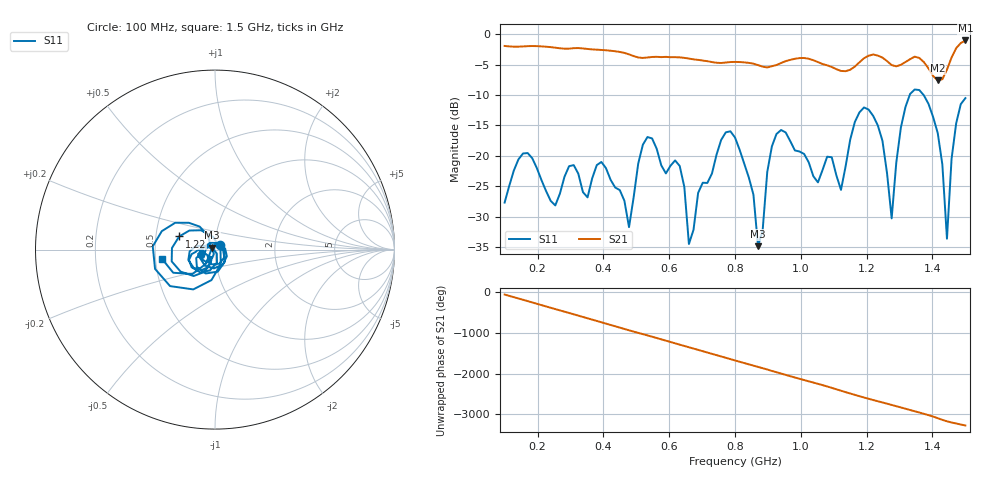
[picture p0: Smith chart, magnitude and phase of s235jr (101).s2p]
! NanoVNA-App
! Date: 2025-09-26 09:45:34
! Start: 100MHz Stop: 1,5GHz Points: 101
! S-Parameter data: F S11 S21 S12 S22
# Hz S RI R 50
!  Frequency  S11_Real  S11_Imag  S21_Real  S21_Imag  S12_Real  S12_Imag  S22_Real  S22_Imag
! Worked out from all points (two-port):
!   101 points, 100 MHz to 1.5 GHz, reference 50 ohm
!   highest |S21| = -1.05 dB at 1.5 GHz (marker M1); lowest = -7.6 dB at 1.416 GHz (marker M2)
!   |S21| within 3 dB of the highest: start of sweep to 663 MHz; 1.19 GHz to 1.253 GHz (62.36 MHz wide, 5.11 % of centre)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
!   lowest |S11| = -34.8 dB at 870 MHz (marker M3), VSWR 1.04, Z = 48.5 + j1 ohm
!   |S11| at or under -10 dB: start of sweep to 1.331 GHz; 1.373 GHz to end of sweep
!   S12 and S22 are empty: the file has one direction only
!   S11 on the Smith chart (normalised r, x): 100 MHz: 1.06, +0.06; 1.22 GHz: 0.66, +0.10; 1.5 GHz: 0.54, -0.06
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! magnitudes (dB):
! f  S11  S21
! 100 MHz  -27.7  -2.0
! 156 MHz  -19.6  -2.0
! 338 MHz  -25.9  -2.4
! 394 MHz  -21.0  -2.6
! 478 MHz  -31.7  -3.3
! 520 MHz  -18.2  -3.9
! 576 MHz  -21.5  -3.8
! 632 MHz  -21.6  -3.8
! 660 MHz  -34.4  -4.0
! 800 MHz  -17.0  -4.6
! 870 MHz  -34.8  -5.1
! 926 MHz  -16.4  -5.1
! 1.038 GHz  -23.3  -4.3
! 1.122 GHz  -25.6  -6.1
! 1.164 GHz  -14.4  -5.3
! 1.22 GHz  -13.4  -3.4
! 1.276 GHz  -30.2  -5.1
! 1.332 GHz  -9.8  -4.1
! 1.416 GHz  -16.3  -7.6
! 1.444 GHz  -33.6  -5.8
! 1.472 GHz  -14.6  -2.3
! 1.5 GHz  -10.5  -1.1
